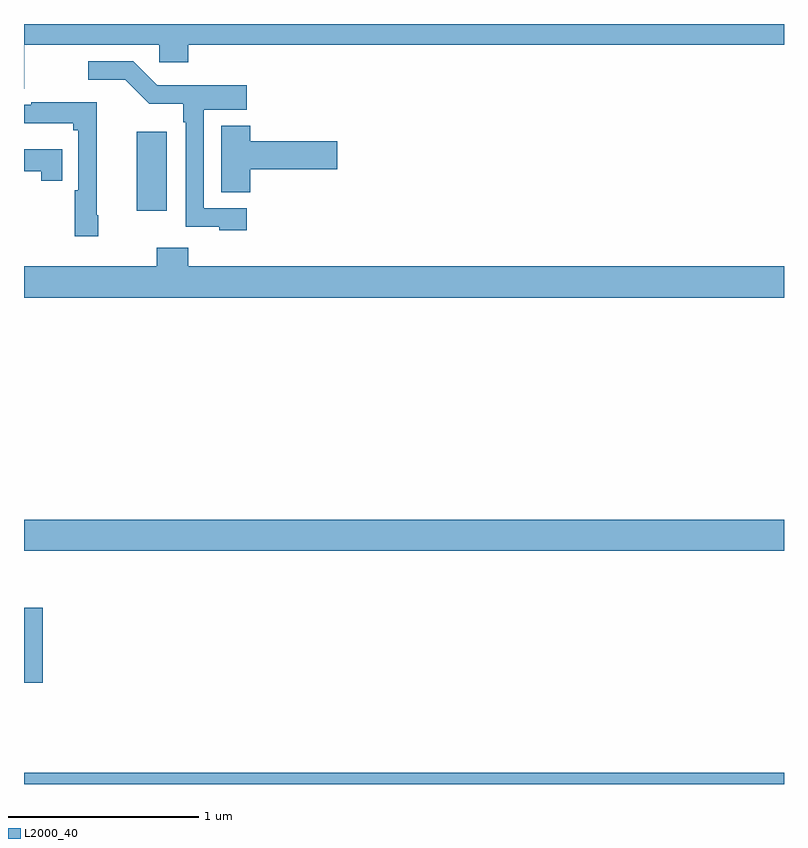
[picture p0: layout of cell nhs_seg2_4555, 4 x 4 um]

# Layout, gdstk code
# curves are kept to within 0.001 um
import gdstk
lib = gdstk.Library(unit=1e-6, precision=1e-09)
def R(c, l, rs):  # rectangles x0, y0, x1, y1
    for r in rs: c.add(gdstk.rectangle(r[:2], r[2:], *l))
def P(c, l, *ps):  # polygons
    for p in ps: c.add(gdstk.Polygon(p, *l))
L2000_40 = (2000, 40)

nhs_seg2_4555 = lib.new_cell('nhs_seg2_4555')
R(nhs_seg2_4555, L2000_40, [(359,587.8,363,587.86), (359,588.333,359.099,588.727), (359,589.028,363,589.192), (359.594,590.817,359.752,591.232)])
P(nhs_seg2_4555, L2000_40, [(359.001,591.692),(359.712,591.692),(359.712,591.599),(359.864,591.599),(359.864,591.692),(363,591.692),(363,591.8),(359,591.8),(359,591.46),(359.001,591.46)],
  [(360.172,590.829),(359.946,590.829),(359.946,591.35),(360.172,591.35),(360.172,591.478),(359.701,591.477),(359.575,591.603),(359.337,591.603),(359.337,591.506),(359.534,591.506),(359.66,591.38),(359.838,591.38),(359.838,591.284),(359.85,591.284),(359.85,590.733),(360.027,590.733),(360.027,590.714),(360.172,590.714)],
  [(359.39,590.794),(359.384,590.794),(359.384,591.388),(359.039,591.388),(359.039,591.375),(359,591.375),(359,591.278),(359.258,591.278),(359.258,591.24),(359.286,591.24),(359.286,590.926),(359.266,590.926),(359.266,590.682),(359.39,590.682)],
  [(360.191,591.035),(360.649,591.035),(360.649,591.182),(360.191,591.182),(360.191,591.265),(360.038,591.265),(360.038,590.914),(360.191,590.914)],
  [(359.201,591.142),(359,591.142),(359,591.025),(359.09,591.025),(359.09,590.976),(359.201,590.976)],
  [(363,590.524),(359.864,590.524),(359.864,590.623),(359.699,590.623),(359.699,590.524),(359,590.524),(359,590.36),(363,590.36)])

lib.write_gds('nhs_seg2_4555.gds')
